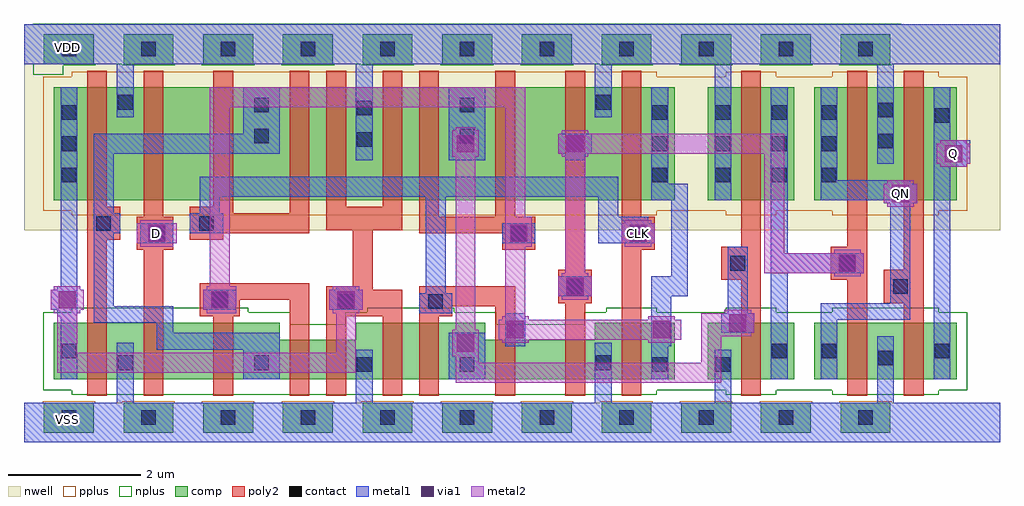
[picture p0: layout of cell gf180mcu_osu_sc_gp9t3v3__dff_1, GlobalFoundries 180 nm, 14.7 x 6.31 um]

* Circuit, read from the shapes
.subckt gf180mcu_osu_sc_gp9t3v3__dff_1 CLK D Q QN VDD VSS
XM1 VSS n1 n2 VSS nfet_03v3 w=0.85u l=0.3u
XM2 n3 D VSS VSS nfet_03v3 w=0.85u l=0.3u
XM3 n1 n4 n3 VSS nfet_03v3 w=0.85u l=0.3u
XM4 n5 n4 n1 VSS nfet_03v3 w=0.6u l=0.3u
XM5 VSS n2 n5 VSS nfet_03v3 w=0.6u l=0.3u
XM6 n6 n2 VSS VSS nfet_03v3 w=0.85u l=0.3u
XM7 n7 CLK n6 VSS nfet_03v3 w=0.85u l=0.3u
XM8 n8 CLK n7 VSS nfet_03v3 w=0.6u l=0.3u
XM9 VSS n9 n8 VSS nfet_03v3 w=0.6u l=0.3u
XM10 n4 CLK VSS VSS nfet_03v3 w=0.85u l=0.3u
XM11 n9 n7 VSS VSS nfet_03v3 w=0.85u l=0.3u
XM12 VSS n9 QN VSS nfet_03v3 w=0.85u l=0.3u
XM13 Q QN VSS VSS nfet_03v3 w=0.85u l=0.3u
XM14 VDD n1 n2 VDD pfet_03v3 w=1.7u l=0.3u
XM15 n10 D VDD VDD pfet_03v3 w=1.7u l=0.3u
XM16 n1 CLK n10 VDD pfet_03v3 w=1.7u l=0.3u
XM17 n11 CLK n1 VDD pfet_03v3 w=1.7u l=0.3u
XM18 VDD n2 n11 VDD pfet_03v3 w=1.7u l=0.3u
XM19 n12 n2 VDD VDD pfet_03v3 w=1.7u l=0.3u
XM20 n7 n4 n12 VDD pfet_03v3 w=1.7u l=0.3u
XM21 n13 n4 n7 VDD pfet_03v3 w=1.7u l=0.3u
XM22 VDD n9 n13 VDD pfet_03v3 w=1.7u l=0.3u
XM23 n4 CLK VDD VDD pfet_03v3 w=1.7u l=0.3u
XM24 n9 n7 VDD VDD pfet_03v3 w=1.7u l=0.3u
XM25 VDD n9 QN VDD pfet_03v3 w=1.7u l=0.3u
XM26 Q QN VDD VDD pfet_03v3 w=1.7u l=0.3u
.ends

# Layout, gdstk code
import gdstk
lib = gdstk.Library(unit=1e-6, precision=1e-09)
def R(c, l, rs):  # rectangles x0, y0, x1, y1
    for r in rs: c.add(gdstk.rectangle(r[:2], r[2:], *l))
def A(c, l, x, y, w, h, nx, ny, dx, dy):  # array of equal rectangles
    R(c, l, [(x+i*dx, y+j*dy, x+i*dx+w, y+j*dy+h) for i in range(nx) for j in range(ny)])
nwell = (21, 0)
comp = (22, 0)
poly2 = (30, 0)
pplus = (31, 0)
nplus = (32, 0)
contact = (33, 0)
metal1 = (34, 0)
via1 = (35, 0)
metal2 = (36, 0)

gf180mcu_osu_sc_gp9t3v3_ = lib.new_cell('gf180mcu_osu_sc_gp9t3v3__dff_1')
R(gf180mcu_osu_sc_gp9t3v3_, nwell, [(0,3.2,14.7,6.3)])
A(gf180mcu_osu_sc_gp9t3v3_, comp, 0.3, 0.15, 0.75, 0.45, 11, 2, 1.2, 5.55)
R(gf180mcu_osu_sc_gp9t3v3_, comp, [(0.45,0.95,9.8,1.55), (10.3,0.95,11.6,1.8), (11.9,0.95,14.05,1.8), (0.45,1.55,3.85,1.8), (5,1.55,6.95,1.8), (8.6,1.55,9.8,1.8), (0.45,3.65,9.8,5.35), (10.3,3.65,11.6,5.35), (11.9,3.65,14.05,5.35)])
R(gf180mcu_osu_sc_gp9t3v3_, poly2, [(0.95,0.7,1.25,3.05), (1.8,0.7,2.1,2.9), (2.85,0.7,3.15,1.9), (4,0.7,4.3,2.15), (4.55,0.7,4.85,1.9), (5.4,0.7,5.7,1.9), (5.95,0.7,6.25,1.9), (7.1,0.7,7.4,2.05), (8.15,0.7,8.45,2.1), (9,0.7,9.3,2.9), (10.8,0.7,11.1,2.45), (12.4,0.7,12.7,2.45), (13.25,0.7,13.55,2.1), (2.65,1.9,3.25,2.15), (4.55,1.9,5.7,2.3), (5.95,1.9,6.45,2.05), (5.95,2.05,7.4,2.35), (8.05,2.1,8.55,2.6), (12.95,2.1,13.55,2.6), (2.65,2.15,4.3,2.4), (4.55,2.3,5.25,2.35), (4.95,2.35,5.25,3.2), (10.5,2.45,11.1,2.95), (12.15,2.45,12.7,2.95), (8.15,2.6,8.45,5.6), (13.25,2.6,13.55,5.6), (1.7,2.9,2.25,3.4), (7.2,2.9,7.7,3.15), (9,2.9,9.5,3.4), (10.8,2.95,11.1,5.6), (12.4,2.95,12.7,5.6), (0.95,3.05,1.45,3.55), (2.5,3.05,3,3.15), (2.5,3.15,4.3,3.45), (5.95,3.15,7.7,3.4), (4.55,3.2,5.7,3.55), (1.8,3.4,2.1,5.6), (5.95,3.4,6.25,5.6), (7.1,3.4,7.4,5.6), (9,3.4,9.3,5.6), (2.5,3.45,3.15,3.55), (4,3.45,4.3,5.6), (0.95,3.55,1.25,5.6), (2.85,3.55,3.15,5.6), (4.55,3.55,4.85,5.6), (5.4,3.55,5.7,5.6)])
A(gf180mcu_osu_sc_gp9t3v3_, pplus, 0.28, 0.13, 0.79, 0.49, 11, 1, 1.2, 0)
R(gf180mcu_osu_sc_gp9t3v3_, pplus, [(0,0,14.7,0.6), (0.72,3.42,9.53,3.49), (10.57,3.42,11.33,3.49), (12.17,3.42,13.78,3.49), (0.29,3.49,14.21,5.51), (0.72,5.51,9.53,5.58), (10.57,5.51,11.33,5.58), (12.17,5.51,13.78,5.58)])
A(gf180mcu_osu_sc_gp9t3v3_, nplus, 1.48, 5.68, 0.79, 0.02, 10, 1, 1.2, 0)
R(gf180mcu_osu_sc_gp9t3v3_, nplus, [(0.72,0.72,9.53,0.79), (10.57,0.72,11.33,0.79), (12.17,0.72,13.78,0.79), (0.29,0.79,14.21,1.78), (0.29,1.78,4.01,1.96), (4.84,1.78,7.11,1.96), (8.44,1.78,14.21,1.96), (0.72,1.96,3.38,2.03), (5.17,1.96,6.48,2.03), (8.77,1.96,9.53,2.03), (10.57,1.96,11.33,2.03), (12.17,1.96,13.78,2.03), (0.14,5.54,0.59,5.68), (0.14,5.68,1.07,5.7), (0,5.7,14.7,6.3), (0,5.7,14.7,6.3), (0.14,6.3,13.21,6.31)])
A(gf180mcu_osu_sc_gp9t3v3_, contact, 0.565, 0.265, 0.22, 0.22, 11, 2, 1.2, 5.55)
A(gf180mcu_osu_sc_gp9t3v3_, contact, 0.565, 3.92, 0.22, 0.22, 1, 3, 0, 0.47)
A(gf180mcu_osu_sc_gp9t3v3_, contact, 9.465, 3.92, 0.22, 0.22, 1, 3, 0, 0.47)
A(gf180mcu_osu_sc_gp9t3v3_, contact, 10.415, 3.92, 0.22, 0.22, 1, 3, 0, 0.47)
A(gf180mcu_osu_sc_gp9t3v3_, contact, 11.265, 3.92, 0.22, 0.22, 1, 3, 0, 0.47)
A(gf180mcu_osu_sc_gp9t3v3_, contact, 12.015, 3.92, 0.22, 0.22, 1, 3, 0, 0.47)
R(gf180mcu_osu_sc_gp9t3v3_, contact, [(5.015,1.065,5.235,1.285), (6.565,1.065,6.785,1.285), (9.465,1.065,9.685,1.285), (10.415,1.065,10.635,1.285), (1.415,1.09,1.635,1.31), (3.465,1.09,3.685,1.31), (8.615,1.09,8.835,1.31), (12.865,1.165,13.085,1.385), (0.565,1.265,0.785,1.485), (11.265,1.265,11.485,1.485), (12.015,1.265,12.235,1.485), (13.715,1.265,13.935,1.485), (4.74,2.015,4.96,2.235), (6.09,2.015,6.31,2.235), (2.84,2.04,3.06,2.26), (8.19,2.24,8.41,2.46), (13.09,2.24,13.31,2.46), (10.64,2.59,10.86,2.81), (12.29,2.59,12.51,2.81), (1.89,3.04,2.11,3.26), (7.34,3.04,7.56,3.26), (9.14,3.04,9.36,3.26), (1.09,3.19,1.31,3.41), (2.64,3.19,2.86,3.41), (12.865,4.43,13.085,4.65), (5.015,4.455,5.235,4.675), (3.465,4.505,3.685,4.725), (6.565,4.505,6.785,4.725), (13.715,4.815,13.935,5.035), (12.865,4.9,13.085,5.12), (5.015,4.925,5.235,5.145), (3.465,4.975,3.685,5.195), (6.565,4.975,6.785,5.195), (1.415,5.015,1.635,5.235), (8.615,5.015,8.835,5.235)])
R(gf180mcu_osu_sc_gp9t3v3_, metal1, [(0,0,14.7,0.6), (1.4,0.6,1.65,1.5), (5,0.6,5.25,1.4), (8.6,0.6,8.85,1.5), (10.4,0.6,10.65,1.4), (12.85,0.6,13.1,1.6), (0.55,0.95,0.8,1.9), (3.3,0.95,3.85,1.4), (6.4,0.95,6.95,1.65), (9.45,0.95,9.7,1.45), (11.25,0.95,11.5,2.55), (12,0.95,12.25,1.85), (13.7,0.95,13.95,4.15), (2,1.4,3.85,1.65), (7.25,1.45,7.55,1.95), (9.45,1.45,9.75,2.2), (2,1.65,2.25,1.8), (10.5,1.65,11,1.95), (1.05,1.8,2.25,2.05), (12,1.85,13.35,2.1), (0.5,1.9,0.8,2), (5.95,1.95,6.45,2.25), (10.6,1.95,10.9,2.95), (0.4,2,0.8,2.3), (2.7,2,3.2,2.3), (4.6,2,5.1,2.3), (1.05,2.05,1.35,3.15), (13.05,2.1,13.35,3.6), (8.05,2.2,8.55,2.5), (9.45,2.2,10,2.5), (6.05,2.25,6.35,3.7), (0.5,2.3,0.8,2.35), (4.7,2.3,5,2.35), (0.55,2.35,0.8,5.35), (9.75,2.5,10,3.65), (11.25,2.55,12.65,2.85), (11.25,2.85,11.5,5.35), (1.75,3,2.25,3.3), (7.2,3,7.7,3.3), (8.65,3,9.5,3.3), (1.05,3.15,1.45,3.45), (2.5,3.15,3,3.45), (8.65,3.3,9.4,3.4), (8.65,3.4,8.95,3.7), (1.05,3.45,1.35,4.35), (2.65,3.45,2.95,3.7), (12.95,3.6,13.45,3.65), (9.45,3.65,10,3.9), (10.4,3.65,10.65,5.7), (12,3.65,13.45,3.9), (2.65,3.7,8.95,4), (9.45,3.9,9.7,5.35), (12,3.9,13.35,3.95), (12,3.95,12.25,5.35), (13.7,4.15,14.2,4.2), (12.85,4.2,13.1,5.7), (13.7,4.2,14.25,4.55), (5,4.25,5.25,5.7), (6.4,4.25,6.95,5.35), (8.15,4.25,8.45,4.35), (1.05,4.35,3.85,4.65), (8.05,4.35,8.55,4.65), (13.7,4.55,13.95,5.35), (3.3,4.65,3.85,5.35), (1.4,4.9,1.65,5.7), (8.6,4.9,8.85,5.7), (0,5.7,14.7,6.3)])
R(gf180mcu_osu_sc_gp9t3v3_, via1, [(6.52,1.37,6.78,1.63), (7.27,1.57,7.53,1.83), (9.47,1.57,9.73,1.83), (10.62,1.67,10.88,1.93), (0.52,2.02,0.78,2.28), (2.82,2.02,3.08,2.28), (4.72,2.02,4.98,2.28), (8.17,2.22,8.43,2.48), (12.27,2.57,12.53,2.83), (1.87,3.02,2.13,3.28), (7.32,3.02,7.58,3.28), (9.12,3.02,9.38,3.28), (13.07,3.62,13.33,3.88), (13.87,4.22,14.13,4.48), (6.52,4.37,6.78,4.63), (8.17,4.37,8.43,4.63)])
R(gf180mcu_osu_sc_gp9t3v3_, metal2, [(6.5,0.9,10.5,1.2), (0.5,1.05,5,1.35), (6.5,1.2,6.85,1.3), (10.2,1.2,10.5,1.6), (6.45,1.3,6.85,1.7), (0.5,1.35,0.8,1.95), (4.7,1.35,5,1.95), (7.2,1.5,7.6,1.55), (9.4,1.5,9.8,1.55), (7.15,1.55,9.9,1.85), (10.2,1.6,10.95,1.65), (10.2,1.65,11,1.95), (6.5,1.7,6.8,4.3), (7.2,1.85,7.6,1.9), (9.4,1.85,9.8,1.9), (7.25,1.9,7.55,2.95), (0.45,1.95,0.85,2), (2.75,1.95,3.2,2), (4.65,1.95,5.05,2), (10.55,1.95,10.95,2), (0.4,2,0.9,2.3), (2.7,2,3.2,2.3), (4.6,2,5.1,2.3), (8.1,2.15,8.5,2.2), (8.05,2.2,8.55,2.5), (0.45,2.3,0.85,2.35), (2.75,2.3,3.2,2.35), (4.65,2.3,5.05,2.35), (2.8,2.35,3.1,5.05), (8.1,2.5,8.5,2.55), (12.2,2.5,12.6,2.55), (8.15,2.55,8.45,4.3), (11.15,2.55,12.65,2.85), (11.15,2.85,11.45,4.35), (12.2,2.85,12.6,2.9), (1.75,2.95,2.25,3), (7.25,2.95,7.65,3.4), (9.05,2.95,9.45,3), (1.7,3,2.3,3.3), (9,3,9.5,3.3), (1.75,3.3,2.25,3.35), (9.05,3.3,9.45,3.35), (7.25,3.4,7.55,5.05), (13,3.55,13.4,3.6), (12.95,3.6,13.45,3.9), (13,3.9,13.4,3.95), (13.8,4.15,14.2,4.2), (13.75,4.2,14.25,4.5), (6.45,4.3,6.85,4.7), (8.1,4.3,8.5,4.35), (8.05,4.35,11.45,4.65), (13.8,4.5,14.2,4.55), (8.1,4.65,8.5,4.7), (6.5,4.7,6.8,4.75), (2.8,5.05,7.55,5.35)])
gf180mcu_osu_sc_gp9t3v3_.add(gdstk.Label('D', (2,3.15), layer=36, texttype=10))
gf180mcu_osu_sc_gp9t3v3_.add(gdstk.Label('CLK', (9.25,3.15), layer=36, texttype=10))
gf180mcu_osu_sc_gp9t3v3_.add(gdstk.Label('Q', (14,4.35), layer=36, texttype=10))
gf180mcu_osu_sc_gp9t3v3_.add(gdstk.Label('QN', (13.2,3.75), layer=36, texttype=10))
gf180mcu_osu_sc_gp9t3v3_.add(gdstk.Label('VDD', (0.65,5.95), layer=22, texttype=0))
gf180mcu_osu_sc_gp9t3v3_.add(gdstk.Label('VSS', (0.65,0.35), layer=22, texttype=0))

lib.write_gds('gf180mcu_osu_sc_gp9t3v3__dff_1.gds')
